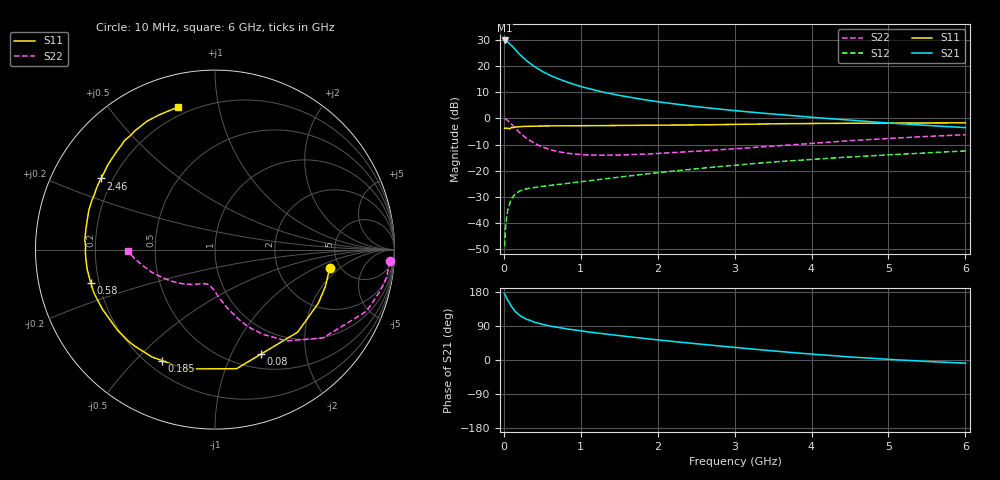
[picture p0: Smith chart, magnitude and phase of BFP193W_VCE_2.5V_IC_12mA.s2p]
! Infineon Technologies  Discrete & RF Semiconductors
! BFP193W
! VCE = 2.5 V,  IC =  12 mA
! Common Emitter S-Parameters:  Jan 2016
# GHz  S  MA  R  50
!  f  S11  S21  S12  S22
! GHz  MAG  ANG  MAG  ANG  MAG  ANG  MAG  ANG
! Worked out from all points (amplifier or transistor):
!   210 points, 10 MHz to 6 GHz, reference 50 ohm
!   highest |S21| = 29.8 dB at 10 MHz (marker M1)
!   |S21| within 3 dB of that: start of sweep to 133.2 MHz
!   unconditionally stable (mu >= 1): 1.193 GHz to 4.197 GHz
!   at 185 MHz: K = 0.24, MSG = 26.6 dB, |S12| = -28.2 dB
!   at 1.52 GHz: K = 1.09, MAG = 13.7 dB, |S12| = -22.4 dB
!   at 6 GHz: K = 0.93, MSG = 4.5 dB, |S12| = -12.5 dB
!   S11 on the Smith chart (normalised r, x): 10 MHz: 4.11, -1.48; 80 MHz: 0.67, -1.31; 185 MHz: 0.26, -0.60; 580 MHz: 0.17, -0.13; 2.46 GHz: 0.16, +0.28; 6 GHz: 0.16, +0.76
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0.01  0.6472 -9.3  30.84 174.6  0.0036 88.3  0.9771 -3.8
0.02  0.6485 -18.5  30.75 170.9  0.0074 80.5  0.968 -9.3
0.03  0.6485 -27.6  30.37 166.5  0.0108 78.2  0.951 -13.6
0.05  0.6508 -45.0  29.09 157.9  0.0172 70.5  0.9115 -22.1
0.08  0.6362 -66.2  26.21 148.1  0.0242 60.4  0.8224 -31.7
0.1  0.6744 -79.7  24.79 140.4  0.0291 56.4  0.7781 -39.2
0.15  0.6856 -104.1  20.52 127.5  0.0362 46.8  0.6471 -51.8
0.185  0.6854 -115.6  18.04 121.6  0.0391 42.5  0.5731 -57.5
0.2  0.6938 -120.5  17.04 118.6  0.0404 40.8  0.5435 -60.4
0.24  0.6992 -129.7  14.97 113.6  0.0425 37.8  0.4832 -65.4
0.3  0.7047 -140.3  12.41 107.1  0.0451 34.9  0.4071 -71.4
0.4  0.7101 -152.2  9.679 99.6  0.0479 33.2  0.3308 -78.3
0.58  0.7163 -165.1  6.89 90.6  0.0517 33.4  0.2583 -86.5
0.8  0.7212 -175.1  5.046 82.6  0.0564 36.0  0.2184 -93.0
1.02  0.7225 177.9  3.988 76.4  0.0617 39.0  0.2026 -98.5
1.4  0.7293 168.5  2.939 66.6  0.0722 43.3  0.1981 -105.8
2.02  0.7387 155.7  2.062 52.7  0.0921 47.3  0.2145 -116.1
2.46  0.7484 148.0  1.704 43.7  0.1072 47.9  0.2335 -123.8
3.1  0.769 137.2  1.362 31.4  0.1309 47.0  0.2678 -135.4
4.1  0.7998 122.7  1.022 14.1  0.1681 43.0  0.3396 -153.7
5.1  0.8128 111.9  0.798 0.6  0.204 37.9  0.4209 -169.1
6  0.8201 104.4  0.666 -8.4  0.2382 33.1  0.4866 -179.1
